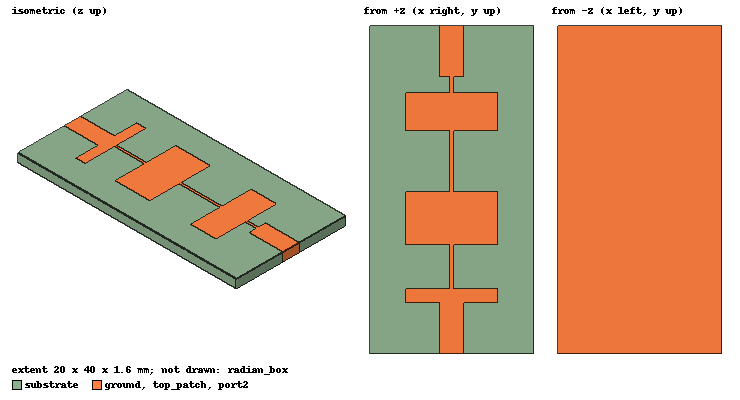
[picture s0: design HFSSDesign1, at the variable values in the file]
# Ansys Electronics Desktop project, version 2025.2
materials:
  vacuum: permittivity=1
  FR4_epoxy: permittivity=4.4 dielectric_loss_tangent=0.02
  air: permittivity=1.0006 permeability=1.0000004

design HFSSDesign1 (HFSS, HFSS Terminal Network, model units mm)
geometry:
  ground = rectangle(corner=(-10mm, 0mm, 0mm), x_size=20mm, y_size=40mm)
  substrate [FR4_epoxy] = box(corner=(-10mm, 0mm, 0mm), size=(20mm, 40mm, 1.6mm))
  top_patch = rectangle(corner=(-1.5mm, 0mm, 1.6mm), x_size=3mm, y_size=6.18mm)
  c1 = rectangle(corner=((-11.1/2) mm, 6.18mm, 1.6mm), x_size=11.1mm, y_size=1.7mm)
  l2 = rectangle(corner=((-0.408/2) mm, 7.88mm, 1.6mm), x_size=0.408mm, y_size=5.46mm)
  c3 = rectangle(corner=((-11.1/2) mm, 13.34mm, 1.6mm), x_size=11.1mm, y_size=6.36mm)
  l4 = rectangle(corner=((-0.408/2) mm, 19.7mm, 1.6mm), x_size=0.408mm, y_size=7.46mm)
  c5 = rectangle(corner=((-11.1/2) mm, 27.16mm, 1.6mm), x_size=11.1mm, y_size=4.66mm)
  l6 = rectangle(corner=((-0.408/2) mm, 31.82mm, 1.6mm), x_size=0.408mm, y_size=2mm)
  50ohmline_2 = rectangle(corner=(-1.5mm, 33.82mm, 1.6mm), x_size=3mm, y_size=6.18mm)
  top_patch.unite(50ohmline_2, c1, c3, c5, l2, l4, l6)
  radian_box [air] = box(corner=(-15mm, -5mm, -25mm), size=(30mm, 50mm, 50mm))
  port1 = rectangle(corner=(-1.5mm, 0mm, 1.6mm), z_size=-1.6mm, x_size=3mm)
  port2 = rectangle(corner=(-1.5mm, 40mm, 1.6mm), z_size=-1.6mm, x_size=3mm)
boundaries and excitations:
  PerfE1: Perfect E Objects=top_patch
  PerfE2: Perfect E Objects=ground
  Rad1: Radiation Objects=radian_box
  1: Lumped Port Objects=port1 LumpedPortType=Modal Modes{Mode1{IntLine{(0, 0, 0) -> (0, 0, 1.6)} CharImp=Zpi RenormImp=50ohm}} Impedance=50ohm
  2: Lumped Port Objects=port2 LumpedPortType=Modal Modes{Mode1{IntLine{(0, 40, 0) -> (0, 40, 1.6)} CharImp=Zpi RenormImp=50ohm}} Impedance=50ohm
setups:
  Setup1: HfssDriven Frequency=3GHz MaxDeltaS=0.02 MaximumPasses=6 MinimumPasses=1 MinimumConvergedPasses=1 PercentRefinement=30 BasisOrder=1 PortAccuracy=2 DrivenSolverType="Direct Solver"
    sweep Sweep: 1GHz to 10GHz, 401 points; Type=Interpolating InterpTolerance=0.5 InterpMaxSolns=250 PassivityErrorTolerance=0.0001
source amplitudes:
  1:1: 1V 0deg
  2:1: 0V 0deg
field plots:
  Mag_Jsurf1: Jsurf over top_patch.face(at (0, 20, 1.6)) on Setup1 : LastAdaptive at Freq=3GHz Phase=0deg
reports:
  S Parameter Plot1: dB(S(1,1)), dB(S(2,1)), dB(S(1,2)), dB(S(2,2)) vs Freq on Setup1 : Sweep; markers m1 at 3.0025GHz, m2 at 2.71GHz
  VSWR Plot1: VSWR(1) vs Freq on Setup1 : Sweep
